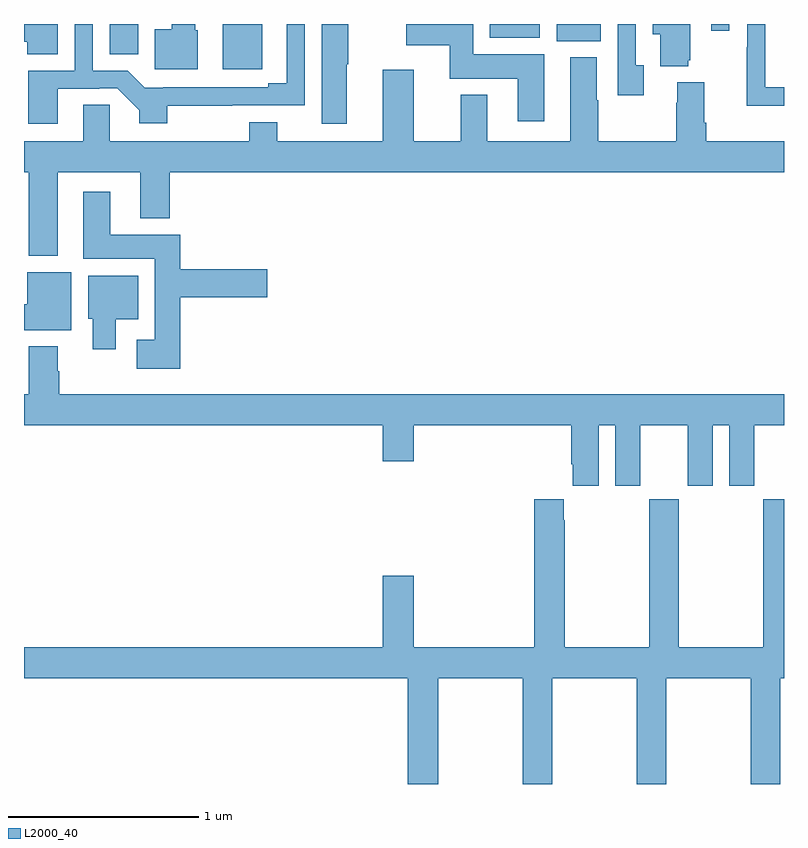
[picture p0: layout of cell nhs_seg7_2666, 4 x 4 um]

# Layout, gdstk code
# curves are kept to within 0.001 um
import gdstk
lib = gdstk.Library(unit=1e-6, precision=1e-09)
def R(c, l, rs):  # rectangles x0, y0, x1, y1
    for r in rs: c.add(gdstk.rectangle(r[:2], r[2:], *l))
def P(c, l, *ps):  # polygons
    for p in ps: c.add(gdstk.Polygon(p, *l))
L2000_40 = (2000, 40)

nhs_seg7_2666 = lib.new_cell('nhs_seg7_2666')
R(nhs_seg7_2666, L2000_40, [(284.045,1063.763,284.254,1064), (283.451,1063.84,283.6,1064), (285.803,1063.91,286.036,1064), (285.452,1063.928,285.715,1064), (286.617,1063.965,286.713,1064)])
P(nhs_seg7_2666, L2000_40, [(287,1063.668),(286.902,1063.668),(286.902,1064),(286.806,1064),(286.806,1063.877),(286.804,1063.877),(286.804,1063.571),(287,1063.571)],
  [(284.698,1063.788),(284.706,1063.788),(284.706,1064),(284.567,1064),(284.567,1063.476),(284.698,1063.476)],
  [(285.739,1063.84),(285.364,1063.84),(285.364,1064),(285.013,1064),(285.013,1063.889),(285.242,1063.889),(285.242,1063.712),(285.599,1063.712),(285.599,1063.488),(285.739,1063.488)],
  [(283.177,1063.659),(283.397,1063.659),(283.397,1063.662),(283.491,1063.662),(283.607,1063.546),(283.607,1063.478),(283.755,1063.478),(283.755,1063.571),(284.478,1063.572),(284.478,1064),(284.382,1064),(284.382,1063.688),(284.285,1063.688),(284.285,1063.668),(283.732,1063.668),(283.732,1063.665),(283.636,1063.665),(283.546,1063.755),(283.362,1063.755),(283.362,1064),(283.266,1064),(283.266,1063.755),(283.022,1063.755),(283.022,1063.476),(283.177,1063.476)],
  [(283.177,1064),(283,1064),(283,1063.907),(283.016,1063.907),(283.016,1063.84),(283.177,1063.84)],
  [(286.261,1063.782),(286.221,1063.782),(286.221,1064),(286.125,1064),(286.125,1063.626),(286.261,1063.626)],
  [(283.915,1063.968),(283.9,1063.968),(283.9,1064),(283.778,1064),(283.778,1063.972),(283.688,1063.972),(283.688,1063.763),(283.915,1063.763)],
  [(286.496,1063.809),(286.507,1063.809),(286.507,1064),(286.31,1064),(286.31,1063.946),(286.349,1063.946),(286.349,1063.778),(286.496,1063.778)],
  [(286.439,1063.693),(286.439,1063.586),(286.432,1063.586),(286.432,1063.384),(286.023,1063.384),(286.023,1063.599),(286.015,1063.599),(286.015,1063.825),(285.875,1063.825),(285.875,1063.384),(285.439,1063.384),(285.439,1063.627),(285.299,1063.627),(285.299,1063.384),(285.052,1063.384),(285.052,1063.759),(284.888,1063.759),(284.888,1063.384),(284.332,1063.384),(284.332,1063.483),(284.185,1063.483),(284.185,1063.384),(283.452,1063.384),(283.452,1063.574),(283.313,1063.574),(283.313,1063.384),(283,1063.384),(283,1063.22),(283.025,1063.22),(283.025,1062.779),(283.177,1062.779),(283.177,1063.22),(283.613,1063.22),(283.613,1062.977),(283.766,1062.977),(283.766,1063.22),(287,1063.22),(287,1063.384),(286.592,1063.384),(286.592,1063.48),(286.579,1063.48),(286.579,1063.693)],
  [(283.823,1062.563),(284.281,1062.563),(284.281,1062.71),(283.823,1062.71),(283.823,1062.892),(283.453,1062.892),(283.453,1063.117),(283.313,1063.117),(283.313,1062.764),(283.688,1062.764),(283.688,1062.337),(283.593,1062.337),(283.593,1062.185),(283.823,1062.185)],
  [(283.249,1062.694),(283.016,1062.694),(283.016,1062.524),(283,1062.524),(283,1062.389),(283.249,1062.389)],
  [(283.483,1062.446),(283.6,1062.446),(283.6,1062.676),(283.337,1062.676),(283.337,1062.45),(283.361,1062.45),(283.361,1062.288),(283.483,1062.288)],
  [(286.024,1061.888),(286.112,1061.888),(286.112,1061.571),(286.243,1061.571),(286.243,1061.888),(286.493,1061.888),(286.493,1061.571),(286.624,1061.571),(286.624,1061.888),(286.712,1061.888),(286.712,1061.571),(286.843,1061.571),(286.843,1061.888),(287,1061.888),(287,1062.052),(283.185,1062.052),(283.185,1062.173),(283.177,1062.173),(283.177,1062.304),(283.025,1062.304),(283.025,1062.052),(283,1062.052),(283,1061.888),(284.888,1061.888),(284.888,1061.7),(285.052,1061.7),(285.052,1061.888),(285.881,1061.888),(285.881,1061.683),(285.887,1061.683),(285.887,1061.571),(286.024,1061.571)],
  [(285.18,1060.556),(285.625,1060.556),(285.625,1060),(285.78,1060),(285.78,1060.556),(286.225,1060.556),(286.225,1060),(286.38,1060),(286.38,1060.556),(286.825,1060.556),(286.825,1060),(286.98,1060),(286.98,1060.556),(287,1060.556),(287,1061.5),(286.891,1061.5),(286.891,1060.72),(286.446,1060.72),(286.446,1061.5),(286.291,1061.5),(286.291,1060.72),(285.846,1060.72),(285.846,1061.387),(285.841,1061.387),(285.841,1061.5),(285.686,1061.5),(285.686,1060.72),(285.052,1060.72),(285.052,1061.095),(284.888,1061.095),(284.888,1060.72),(283,1060.72),(283,1060.556),(285.02,1060.556),(285.02,1060),(285.18,1060)])

lib.write_gds('nhs_seg7_2666.gds')
